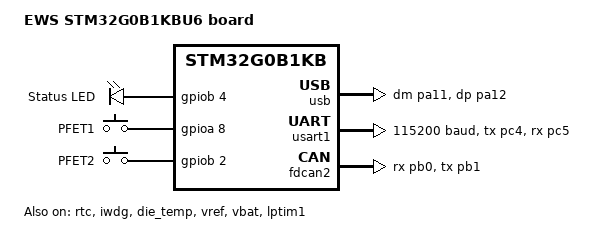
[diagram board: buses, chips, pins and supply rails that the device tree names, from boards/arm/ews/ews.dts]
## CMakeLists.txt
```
cmake_minimum_required(VERSION 3.20.0)

# Set board root to find our custom board
set(BOARD_ROOT ${CMAKE_CURRENT_SOURCE_DIR})

find_package(Zephyr REQUIRED HINTS $ENV{ZEPHYR_BASE})
project(ews_canfd_cdc_composite)

target_sources(app PRIVATE
    src/main.c
    src/cdc_handler.c
    src/pfet_control.c
    src/gs_usb_can.c
    src/usb_gs_usb_class.c
)
```

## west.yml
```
manifest:
  defaults:
    remote: upstream

  remotes:
    - name: upstream
      url-base: https://github.com/zephyrproject-rtos

  projects:
    - name: zephyr
      remote: upstream
      revision: main
      import: true

  self:
    path: app
```

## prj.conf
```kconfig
# USB Device Stack for gs_usb (keep legacy for compatibility)
CONFIG_USB_DEVICE_STACK=y
CONFIG_USB_DEVICE_PRODUCT="EWS gs_usb CAN-FD"
CONFIG_USB_DEVICE_VID=0x1d50
CONFIG_USB_DEVICE_PID=0x606f
CONFIG_USB_DEVICE_MANUFACTURER="EWS"

# Ring buffer for USB communication
CONFIG_RING_BUFFER=y

# Serial and UART
CONFIG_SERIAL=y
CONFIG_UART_LINE_CTRL=y

# CAN configuration  
CONFIG_CAN=y
CONFIG_CAN_FD_MODE=y

# GPIO for PFET control
CONFIG_GPIO=y

# Console and Shell
CONFIG_CONSOLE=y
CONFIG_UART_CONSOLE=y

# Logging
CONFIG_LOG=y
CONFIG_LOG_DEFAULT_LEVEL=3

# System configuration
CONFIG_MAIN_STACK_SIZE=4096
CONFIG_HEAP_MEM_POOL_SIZE=8192

# Device tree and drivers
CONFIG_PINCTRL=y
```

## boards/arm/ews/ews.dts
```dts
/*
 * Copyright (c) 2024 EWS Board
 * Based on STM32G0B1RE-NUCLEO
 * SPDX-License-Identifier: Apache-2.0
 */

/dts-v1/;
#include <st/g0/stm32g0b1Xe.dtsi>
#include <st/g0/stm32g0b1r(b-c-e)tx-pinctrl.dtsi>
#include <zephyr/dt-bindings/input/input-event-codes.h>

/ {
    model = "EWS STM32G0B1KBU6 board";
    compatible = "st,stm32g0b1kb-ews";

    chosen {
        zephyr,console = &usart1;
        zephyr,shell-uart = &usart1;
        zephyr,uart-mcumgr = &usart1;
        zephyr,sram = &sram0;
        zephyr,flash = &flash0;
        zephyr,code-partition = &slot0_partition;
        zephyr,canbus = &fdcan2;
    };

    leds: leds {
        compatible = "gpio-leds";
        status_led: led_0 {
            gpios = <&gpiob 4 GPIO_ACTIVE_HIGH>;
            label = "Status LED";
        };
    };

    gpio_keys {
        compatible = "gpio-keys";
        pfet1: pfet1 {
            label = "PFET1";
            gpios = <&gpioa 8 GPIO_ACTIVE_HIGH>;
            zephyr,code = <INPUT_KEY_1>;
        };
        pfet2: pfet2 {
            label = "PFET2";  
            gpios = <&gpiob 2 GPIO_ACTIVE_HIGH>;
            zephyr,code = <INPUT_KEY_2>;
        };
    };

    aliases {
        led0 = &status_led;
        pfet0 = &pfet1;
        pfet1 = &pfet2;
        watchdog0 = &iwdg;
        die-temp0 = &die_temp;
        volt-sensor0 = &vref;
        volt-sensor1 = &vbat;
    };
};

&clk_lsi {
    status = "okay";
};

&clk_hsi {
    status = "okay";
};

&clk_hsi48 {
    status = "okay";
    crs-usb-sof;
};

&pll {
    div-m = <1>;
    mul-n = <8>;
    div-p = <2>;
    div-q = <2>;
    div-r = <2>;
    clocks = <&clk_hsi>;
    status = "okay";
};

&rcc {
    clocks = <&pll>;
    clock-frequency = <DT_FREQ_M(64)>;
    ahb-prescaler = <1>;
    apb1-prescaler = <1>;
};

zephyr_udc0: &usb {
    pinctrl-0 = <&usb_dm_pa11 &usb_dp_pa12>;
    pinctrl-names = "default";
    status = "okay";
};

&usart1 {
    pinctrl-0 = <&usart1_tx_pc4 &usart1_rx_pc5>;
    pinctrl-names = "default";
    current-speed = <115200>;
    status = "okay";
};

&rtc {
    clocks = <&rcc STM32_CLOCK(APB1, 10)>,
             <&rcc STM32_SRC_LSI RTC_SEL(2)>;
    status = "okay";
};

&iwdg {
    status = "okay";
};

&fdcan2 {
    clocks = <&rcc STM32_CLOCK(APB1, 12)>,
             <&rcc STM32_SRC_PLL_Q FDCAN_SEL(1)>;
    pinctrl-0 = <&fdcan2_rx_pb0 &fdcan2_tx_pb1>;
    pinctrl-names = "default";
    status = "okay";
};

&die_temp {
    status = "okay";
};

&vref {
    status = "okay";
};

&vbat {
    status = "okay";
};

&flash0 {
    partitions {
        compatible = "fixed-partitions";
        #address-cells = <1>;
        #size-cells = <1>;

        boot_partition: partition@0 {
            label = "mcuboot";
            reg = <0x00000000 DT_SIZE_K(16)>;
            read-only;
        };

        slot0_partition: partition@4000 {
            label = "image-0";
            reg = <0x00004000 DT_SIZE_K(96)>;
        };

        slot1_partition: partition@1c000 {
            label = "image-1";
            reg = <0x0001c000 DT_SIZE_K(16)>;
        };
    };
};

stm32_lp_tick_source: &lptim1 {
    clocks = <&rcc STM32_CLOCK(APB1, 31)>,
             <&rcc STM32_SRC_LSI LPTIM1_SEL(1)>;
    status = "okay";
};
```

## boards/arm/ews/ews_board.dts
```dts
/dts-v1/;
#include <st/g0/stm32g0b1Xb.dtsi>
#include <st/g0/stm32g0b1k(b-c-e)ux-pinctrl.dtsi>

/ {
	model = "EWS Board STM32G0B1KBU6";
	compatible = "ews,ews";

	chosen {
		zephyr,console = &cdc_acm_uart0;
		zephyr,shell-uart = &cdc_acm_uart0;
		zephyr,sram = &sram0;
		zephyr,flash = &flash0;
		zephyr,canbus = &fdcan1;
	};

	leds {
		compatible = "gpio-leds";
		status_led: led_0 {
			gpios = <&gpiob 4 GPIO_ACTIVE_HIGH>;
			label = "Status LED";
		};
	};

	pfets {
		compatible = "gpio-leds";
		pfet1: pfet_1 {
			gpios = <&gpioa 8 GPIO_ACTIVE_HIGH>;
			label = "PFET1 Control";
		};
		pfet2: pfet_2 {
			gpios = <&gpiob 2 GPIO_ACTIVE_HIGH>;
			label = "PFET2 Control";
		};
	};

	aliases {
		led0 = &status_led;
		pfet0 = &pfet1;
		pfet1 = &pfet2;
	};
};

&clk_hsi {
	status = "okay";
};

&pll {
	div-m = <1>;
	mul-n = <8>;
	div-q = <2>;
	div-r = <2>;
	clocks = <&clk_hsi>;
	status = "okay";
};

&rcc {
	clocks = <&pll>;
	clock-frequency = <DT_FREQ_M(64)>;
	ahb-prescaler = <1>;
	apb1-prescaler = <1>;
};

&fdcan1 {
	pinctrl-0 = <&fdcan1_rx_pb0 &fdcan1_tx_pb1>;
	pinctrl-names = "default";
	bus-speed = <500000>;
	bus-speed-data = <2000000>;
	status = "okay";
};

&usb {
	pinctrl-0 = <&usb_dm_pa11 &usb_dp_pa12>;
	pinctrl-names = "default";
	status = "okay";
	cdc_acm_uart0: cdc_acm_uart0 {
		compatible = "zephyr,cdc-acm-uart";
	};
};

&gpioa {
	status = "okay";
};

&gpiob {
	status = "okay";
};

&flash0 {
	partitions {
		compatible = "fixed-partitions";
		#address-cells = <1>;
		#size-cells = <1>;

		boot_partition: partition@0 {
			label = "mcuboot";
			reg = <0x00000000 0x00002000>;
		};
		slot0_partition: partition@2000 {
			label = "image-0";
			reg = <0x00002000 0x0001E000>;
		};
	};
};
```

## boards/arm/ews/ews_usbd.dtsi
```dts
/*
 * USB Device Tree Configuration for Next Generation USB Device Stack
 */

/ {
    usbd: usbd {
        compatible = "zephyr,usbd";
        status = "okay";
        
        gs_config: config {
            compatible = "zephyr,usbd-configuration";
            configuration-value = <1>;
            max-power = <100>;
            self-powered;
            
            gs_interface: interface {
                compatible = "zephyr,usbd-interface";
                interface-number = <0>;
                alternate-setting = <0>;
                class-code = <255>; // USB_BCC_VENDOR
                subclass-code = <0>;
                protocol-code = <0>;
                
                gs_bulk_out: bulk_out {
                    compatible = "zephyr,usbd-bulk";
                    endpoint-address = <0x01>;
                    max-packet-size = <64>;
                };
                
                gs_bulk_in: bulk_in {
                    compatible = "zephyr,usbd-bulk";
                    endpoint-address = <0x81>;
                    max-packet-size = <64>;
                };
            };
        };
    };
};

&usb {
    usbd;
};
```

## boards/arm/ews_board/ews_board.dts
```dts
/dts-v1/;
#include <st/g0/stm32g0b1Xb.dtsi>
#include <st/g0/stm32g0b1k(b-c-e)ux-pinctrl.dtsi>

/ {
	model = "EWS Board STM32G0B1KBU6";
	compatible = "ews,ews-board";

	chosen {
		zephyr,console = &cdc_acm_uart0;
		zephyr,shell-uart = &cdc_acm_uart0;
		zephyr,sram = &sram0;
		zephyr,flash = &flash0;
		zephyr,canbus = &fdcan1;
	};

	leds {
		compatible = "gpio-leds";
		status_led: led_0 {
			gpios = <&gpiob 4 GPIO_ACTIVE_HIGH>;
			label = "Status LED";
		};
	};

	pfets {
		compatible = "gpio-leds";
		pfet1: pfet_1 {
			gpios = <&gpioa 8 GPIO_ACTIVE_HIGH>;
			label = "PFET1 Control";
		};
		pfet2: pfet_2 {
			gpios = <&gpiob 2 GPIO_ACTIVE_HIGH>;
			label = "PFET2 Control";
		};
	};

	aliases {
		led0 = &status_led;
		pfet0 = &pfet1;
		pfet1 = &pfet2;
	};
};

&clk_hsi {
	status = "okay";
};

&pll {
	div-m = <1>;
	mul-n = <8>;
	div-q = <2>;
	div-r = <2>;
	clocks = <&clk_hsi>;
	status = "okay";
};

&rcc {
	clocks = <&pll>;
	clock-frequency = <DT_FREQ_M(64)>;
	ahb-prescaler = <1>;
	apb1-prescaler = <1>;
};

&fdcan1 {
	pinctrl-0 = <&fdcan1_rx_pb0 &fdcan1_tx_pb1>;
	pinctrl-names = "default";
	bus-speed = <500000>;
	bus-speed-data = <2000000>;
	status = "okay";
};

&usb {
	pinctrl-0 = <&usb_dm_pa11 &usb_dp_pa12>;
	pinctrl-names = "default";
	status = "okay";
	cdc_acm_uart0: cdc_acm_uart0 {
		compatible = "zephyr,cdc-acm-uart";
	};
};

&gpioa {
	status = "okay";
};

&gpiob {
	status = "okay";
};

&flash0 {
	partitions {
		compatible = "fixed-partitions";
		#address-cells = <1>;
		#size-cells = <1>;

		boot_partition: partition@0 {
			label = "mcuboot";
			reg = <0x00000000 0x00002000>;
		};
		slot0_partition: partition@2000 {
			label = "image-0";
			reg = <0x00002000 0x0001E000>;
		};
	};
};
```

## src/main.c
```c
/*
 * EWS CAN FD CDC Composite Firmware
 * Main application entry point
 */

#include <zephyr/kernel.h>
#include <zephyr/device.h>
#include <zephyr/drivers/gpio.h>
#include <zephyr/logging/log.h>

#include "cdc_handler.h"
#include "pfet_control.h"
#include "gs_usb_can.h"
#include "usb_gs_usb_class.h"

LOG_MODULE_REGISTER(main, LOG_LEVEL_DBG);

/* LED definitions - adjust to actual EWS board pins */
#define LED_STATUS_NODE DT_ALIAS(led0)
static const struct gpio_dt_spec led_status = GPIO_DT_SPEC_GET(LED_STATUS_NODE, gpios);

int main(void)
{
    int ret;

    LOG_INF("EWS CAN FD CDC Composite Firmware starting...");

    /* Initialize status LED */
    if (!gpio_is_ready_dt(&led_status)) {
        LOG_ERR("Status LED device not ready");
        return -ENODEV;
    }
    
    ret = gpio_pin_configure_dt(&led_status, GPIO_OUTPUT_ACTIVE);
    if (ret < 0) {
        LOG_ERR("Error configuring status LED: %d", ret);
        return ret;
    }

    /* Initialize PFET control */
    ret = pfet_control_init();
    if (ret < 0) {
        LOG_ERR("Failed to initialize PFET control: %d", ret);
        return ret;
    }

    /* Initialize USB gs_usb class */
    ret = usb_gs_usb_init();
    if (ret != 0) {
        LOG_ERR("Failed to initialize USB gs_usb: %d", ret);
        return ret;
    }

    /* Initialize CDC handler */
    ret = cdc_handler_init();
    if (ret < 0) {
        LOG_ERR("Failed to initialize CDC handler: %d", ret);
        return ret;
    }

    /* Initialize gs_usb CAN interface */
    ret = gs_usb_can_init();
    if (ret < 0) {
        LOG_ERR("Failed to initialize gs_usb CAN: %d", ret);
        return ret;
    }

    LOG_INF("EWS firmware initialized successfully");

    /* Main loop */
    while (1) {
        /* Toggle status LED to show activity */
        gpio_pin_toggle_dt(&led_status);
        
        /* Handle CDC commands */
        cdc_handler_process();
        
        k_msleep(500);
    }

    return 0;
}
```

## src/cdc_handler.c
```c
/*
 * CDC Handler Module  
 * Handles USB CDC ACM commands for PFET control
 */

#include <zephyr/kernel.h>
#include <zephyr/device.h>
#include <zephyr/drivers/uart.h>
#include <zephyr/usb/usb_device.h>
#include <zephyr/logging/log.h>
#include <string.h>

#include "cdc_handler.h"
#include "pfet_control.h"

LOG_MODULE_REGISTER(cdc_handler, LOG_LEVEL_DBG);

/* Use UART device for PFET control (not CDC over USB) */
static const struct device *cdc_dev = DEVICE_DT_GET(DT_CHOSEN(zephyr_console));

#define RX_BUF_SIZE 64
static char rx_buf[RX_BUF_SIZE];
static int rx_pos = 0;

static void process_command(char *cmd)
{
    char response[128];
    
    if (strncmp(cmd, "PFET1_ON", 8) == 0) {
        pfet_set_state(1, true);
        strcpy(response, "PFET1 ON\r\n");
    } else if (strncmp(cmd, "PFET1_OFF", 9) == 0) {
        pfet_set_state(1, false);
        strcpy(response, "PFET1 OFF\r\n");
    } else if (strncmp(cmd, "PFET2_ON", 8) == 0) {
        pfet_set_state(2, true);
        strcpy(response, "PFET2 ON\r\n");
    } else if (strncmp(cmd, "PFET2_OFF", 9) == 0) {
        pfet_set_state(2, false);
        strcpy(response, "PFET2 OFF\r\n");
    } else if (strncmp(cmd, "STATUS", 6) == 0) {
        snprintf(response, sizeof(response), 
                "PFET1: %s, PFET2: %s\r\n",
                pfet_get_state(1) ? "ON" : "OFF",
                pfet_get_state(2) ? "ON" : "OFF");
    } else {
        strcpy(response, "ERROR: Unknown command\r\n");
    }
    
    /* Send response */
    for (int i = 0; i < strlen(response); i++) {
        uart_poll_out(cdc_dev, response[i]);
    }
}

int cdc_handler_init(void)
{
    if (!device_is_ready(cdc_dev)) {
        LOG_ERR("CDC ACM device not ready");
        return -ENODEV;
    }

    LOG_INF("CDC handler initialized");
    return 0;
}

void cdc_handler_process(void)
{
    unsigned char c;
    
    /* Check for incoming characters */
    while (uart_poll_in(cdc_dev, &c) == 0) {
        if (c == '\n' || c == '\r') {
            /* End of command */
            if (rx_pos > 0) {
                rx_buf[rx_pos] = '\0';
                process_command(rx_buf);
                rx_pos = 0;
            }
        } else if (rx_pos < (RX_BUF_SIZE - 1)) {
            /* Add character to buffer */
            rx_buf[rx_pos++] = (char)c;
        } else {
            /* Buffer full, reset */
            rx_pos = 0;
        }
    }
}
```

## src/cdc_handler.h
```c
/*
 * CDC Handler Header
 */

#ifndef CDC_HANDLER_H
#define CDC_HANDLER_H

/**
 * Initialize CDC handler
 * @return 0 on success, negative error code on failure
 */
int cdc_handler_init(void);

/**
 * Process incoming CDC commands
 * Should be called regularly from main loop
 */
void cdc_handler_process(void);

#endif /* CDC_HANDLER_H */
```

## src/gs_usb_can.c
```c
/*
 * gs_usb CAN Interface Implementation
 * Implements gs_usb protocol for CAN FD communication compatible with candleLight
 */

#include <zephyr/kernel.h>
#include <zephyr/device.h>
#include <zephyr/drivers/can.h>
#include <zephyr/usb/usb_device.h>
#include <zephyr/logging/log.h>
#include <string.h>

#include "gs_usb_can.h"
#include "usb_gs_usb_class.h"

LOG_MODULE_REGISTER(gs_usb_can, LOG_LEVEL_DBG);

/* CAN device */
static const struct device *can_dev = DEVICE_DT_GET(DT_CHOSEN(zephyr_canbus));

/* gs_usb state */
static struct gs_device_config device_config = {
    .reserved1 = 0,
    .reserved2 = 0, 
    .reserved3 = 0,
    .icount = 1,  /* One CAN interface */
    .sw_version = 0x00010001,
    .hw_version = 0x00010001,
};

static struct gs_device_bt_const bt_const = {
    .feature = GS_CAN_FEATURE_LISTEN_ONLY | 
               GS_CAN_FEATURE_LOOP_BACK |
               GS_CAN_FEATURE_ONE_SHOT |
               GS_CAN_FEATURE_HW_TIMESTAMP |
               GS_CAN_FEATURE_FD |
               GS_CAN_FEATURE_BRS,
    .fclk_can = 64000000,  /* 64MHz CAN clock */
    .tseg1_min = 1,
    .tseg1_max = 256,
    .tseg2_min = 1, 
    .tseg2_max = 128,
    .sjw_max = 128,
    .brp_min = 1,
    .brp_max = 1024,
    .brp_inc = 1,
};

static struct gs_device_mode current_mode = {
    .mode = GS_CAN_MODE_NORMAL,
    .flags = 0,
};

static struct gs_device_state current_state = {
    .state = CAN_STATE_ERROR_ACTIVE,
    .rxerr = 0,
    .txerr = 0,
};

static bool can_started = false;
static uint32_t echo_id_counter = 0;

/* CAN RX callback */
static void can_rx_callback(const struct device *dev, struct can_frame *frame, void *user_data)
{
    struct gs_host_frame gs_frame = {0};
    
    /* Convert CAN frame to gs_usb frame */
    gs_frame.echo_id = 0xFFFFFFFF;  /* RX frame marker */
    gs_frame.can_id = frame->id;
    
    if (frame->flags & CAN_FRAME_IDE) {
        gs_frame.can_id |= CAN_EFF_FLAG;  /* Extended ID flag */
    }
    if (frame->flags & CAN_FRAME_RTR) {
        gs_frame.can_id |= CAN_RTR_FLAG;  /* RTR flag */
    }
    
    /* Handle CAN-FD specific flags */
    if (frame->flags & CAN_FRAME_FDF) {
        gs_frame.flags |= GS_CAN_FLAG_FD;  /* FD frame */
    }
    if (frame->flags & CAN_FRAME_BRS) {
        gs_frame.flags |= GS_CAN_FLAG_BRS;  /* BRS frame */
    }
    if (frame->flags & CAN_FRAME_ESI) {
        gs_frame.flags |= GS_CAN_FLAG_ESI;  /* ESI frame */
    }
    
    gs_frame.can_dlc = frame->dlc;
    gs_frame.channel = 0;
    gs_frame.timestamp_us = k_uptime_get_32() * 1000;  /* Convert to microseconds */
    
    memcpy(gs_frame.data, frame->data, MIN(frame->dlc, 8));
    
    /* Send frame to host via USB bulk IN endpoint */
    gs_usb_send_frame_to_host((const uint8_t*)&gs_frame, sizeof(gs_frame));
    
    LOG_DBG("RX: ID=0x%08x DLC=%d FD=%d", frame->id, frame->dlc, 
            (frame->flags & CAN_FRAME_FDF) ? 1 : 0);
}

int gs_usb_can_init(void)
{
    int ret;

    if (!device_is_ready(can_dev)) {
        LOG_ERR("CAN device not ready");
        return -ENODEV;
    }

    /* Set default timing for 500kbps */
    struct can_timing timing = {
        .sjw = 1,
        .prop_seg = 6,
        .phase_seg1 = 7,
        .phase_seg2 = 2,
        .prescaler = 6
    };

    ret = can_set_timing(can_dev, &timing);
    if (ret < 0) {
        LOG_ERR("Failed to set CAN timing: %d", ret);
        return ret;
    }

    /* Install RX callback */
    struct can_filter filter = {
        .id = 0,
        .mask = 0,
        .flags = CAN_FILTER_IDE,
    };
    
    ret = can_add_rx_filter(can_dev, can_rx_callback, NULL, &filter);
    if (ret < 0) {
        LOG_ERR("Failed to add CAN RX filter: %d", ret);
        return ret;
    }

    LOG_INF("gs_usb CAN interface initialized");
    return 0;
}

int gs_usb_handle_control_request(struct usb_setup_packet *setup, int32_t *len, uint8_t **data)
{
    static uint8_t response_buf[64];
    int ret = 0;

    LOG_DBG("Control request: bRequest=0x%02x wValue=0x%04x wIndex=0x%04x wLength=%d",
            setup->bRequest, setup->wValue, setup->wIndex, setup->wLength);

    switch (setup->bRequest) {
    case GS_USB_BREQ_HOST_FORMAT:
        /* Host format - not much to do */
        *len = 0;
        break;

    case GS_USB_BREQ_DEVICE_CONFIG:
        memcpy(response_buf, &device_config, sizeof(device_config));
        *data = response_buf;
        *len = sizeof(device_config);
        break;

    case GS_USB_BREQ_BT_CONST:
        memcpy(response_buf, &bt_const, sizeof(bt_const));
        *data = response_buf;
        *len = sizeof(bt_const);
        break;

    case GS_USB_BREQ_BITTIMING:
        if (setup->bmRequestType & USB_REQTYPE_DIR_TO_DEVICE) {
            /* Set bit timing */
            struct gs_device_bittiming *bt = (struct gs_device_bittiming *)*data;
            struct can_timing timing = {
                .sjw = bt->sjw,
                .prop_seg = bt->prop_seg,
                .phase_seg1 = bt->phase_seg1,
                .phase_seg2 = bt->phase_seg2,
                .prescaler = bt->brp,
            };
            
            if (can_started) {
                can_stop(can_dev);
                can_started = false;
            }
            
            ret = can_set_timing(can_dev, &timing);
            if (ret < 0) {
                LOG_ERR("Failed to set timing: %d", ret);
                return ret;
            }
            LOG_INF("Set timing: brp=%d sjw=%d prop=%d ph1=%d ph2=%d", 
                    bt->brp, bt->sjw, bt->prop_seg, bt->phase_seg1, bt->phase_seg2);
            *len = 0;
        } else {
            /* Get current bit timing */
            *len = 0; /* TODO: Return current timing */
        }
        break;

    case GS_USB_BREQ_MODE:
        if (setup->bmRequestType & USB_REQTYPE_DIR_TO_DEVICE) {
            /* Set mode */
            struct gs_device_mode *mode = (struct gs_device_mode *)*data;
            current_mode = *mode;
            
            if (mode->mode & GS_CAN_MODE_NORMAL) {
                if (!can_started) {
                    ret = can_start(can_dev);
                    if (ret < 0) {
                        LOG_ERR("Failed to start CAN: %d", ret);
                        return ret;
                    }
                    can_started = true;
                    LOG_INF("CAN started");
                }
            } else {
                if (can_started) {
                    can_stop(can_dev);
                    can_started = false;
                    LOG_INF("CAN stopped");
                }
            }
            *len = 0;
        } else {
            /* Get current mode */
            memcpy(response_buf, &current_mode, sizeof(current_mode));
            *data = response_buf;
            *len = sizeof(current_mode);
        }
        break;

    case GS_USB_BREQ_GET_STATE:
        /* Update error counters - simplified for now */
        current_state.state = CAN_STATE_ERROR_ACTIVE;
        current_state.rxerr = 0;
        current_state.txerr = 0;
        
        memcpy(response_buf, &current_state, sizeof(current_state));
        *data = response_buf;
        *len = sizeof(current_state);
        break;

    case GS_USB_BREQ_IDENTIFY:
        /* LED identify - toggle status LED */
        *len = 0;
        break;

    default:
        LOG_WRN("Unhandled control request: 0x%02x", setup->bRequest);
        ret = -ENOTSUP;
        break;
    }

    return ret;
}

int gs_usb_can_send_frame(const struct can_frame *frame)
{
    if (!can_started) {
        return -ENETDOWN;
    }

    return can_send(can_dev, frame, K_FOREVER, NULL, NULL);
}

/* Handle incoming gs_usb frames from host */
void gs_usb_process_host_frame(const struct gs_host_frame *gs_frame)
{
    struct can_frame frame = {0};
    int ret;

    /* Convert gs_usb frame to CAN frame */
    frame.id = gs_frame->can_id & CAN_EFF_MASK;
    
    if (gs_frame->can_id & CAN_EFF_FLAG) {
        frame.flags |= CAN_FRAME_IDE;  /* Extended ID */
    }
    if (gs_frame->can_id & CAN_RTR_FLAG) {
        frame.flags |= CAN_FRAME_RTR;  /* RTR frame */
    }
    
    /* Handle CAN-FD flags */
    if (gs_frame->flags & GS_CAN_FLAG_FD) {
        frame.flags |= CAN_FRAME_FDF;  /* FD frame */
    }
    if (gs_frame->flags & GS_CAN_FLAG_BRS) {
        frame.flags |= CAN_FRAME_BRS;  /* Bit rate switch */
    }
    if (gs_frame->flags & GS_CAN_FLAG_ESI) {
        frame.flags |= CAN_FRAME_ESI;  /* Error state indicator */
    }

    frame.dlc = gs_frame->can_dlc;
    memcpy(frame.data, gs_frame->data, MIN(frame.dlc, sizeof(frame.data)));

    /* Send frame */
    ret = gs_usb_can_send_frame(&frame);
    
    if (ret == 0) {
        /* Echo frame back to host */
        struct gs_host_frame echo_frame = *gs_frame;
        echo_frame.timestamp_us = k_uptime_get_32() * 1000;  /* Convert to microseconds */
        
        /* Send echo frame via USB bulk IN endpoint */
        gs_usb_send_frame_to_host((const uint8_t*)&echo_frame, sizeof(echo_frame));
        
        LOG_DBG("TX: ID=0x%08x DLC=%d FD=%d", 
                frame.id, frame.dlc, (frame.flags & CAN_FRAME_FDF) ? 1 : 0);
    } else {
        LOG_ERR("Failed to send CAN frame: %d", ret);
        
        /* Send error frame back to host */
        struct gs_host_frame error_frame = *gs_frame;
        error_frame.flags |= GS_CAN_FLAG_ERROR;
        gs_usb_send_frame_to_host((const uint8_t*)&error_frame, sizeof(error_frame));
    }
}

/**
 * Start CAN interface
 */
int gs_usb_can_start(void)
{
    int ret = can_start(can_dev);
    if (ret != 0) {
        LOG_ERR("Failed to start CAN interface: %d", ret);
    } else {
        LOG_INF("CAN interface started");
    }
    return ret;
}

/**
 * Stop CAN interface 
 */
int gs_usb_can_stop(void)
{
    int ret = can_stop(can_dev);
    if (ret != 0) {
        LOG_ERR("Failed to stop CAN interface: %d", ret);
    } else {
        LOG_INF("CAN interface stopped");
    }
    return ret;
}
```

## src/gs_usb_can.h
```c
/*
 * gs_usb CAN Interface Header
 * Based on candleLight firmware gs_usb protocol
 */

#ifndef GS_USB_CAN_H
#define GS_USB_CAN_H

#include <zephyr/drivers/can.h>
#include <zephyr/usb/usb_device.h>

/* gs_usb protocol definitions */
#define GS_USB_BREQ_HOST_FORMAT    0
#define GS_USB_BREQ_BITTIMING      1
#define GS_USB_BREQ_MODE           2
#define GS_USB_BREQ_BERR           3
#define GS_USB_BREQ_BT_CONST       4
#define GS_USB_BREQ_DEVICE_CONFIG  5
#define GS_USB_BREQ_TIMESTAMP      6
#define GS_USB_BREQ_IDENTIFY       7

/* Device modes */
#define GS_CAN_MODE_STOP           0
#define GS_CAN_MODE_START          1
#define GS_USB_BREQ_GET_USER_ID    8
#define GS_USB_BREQ_SET_USER_ID    9
#define GS_USB_BREQ_DATA_BITTIMING 10
#define GS_USB_BREQ_BT_CONST_EXT   11
#define GS_USB_BREQ_SET_TERMINATION 12
#define GS_USB_BREQ_GET_TERMINATION 13
#define GS_USB_BREQ_GET_STATE      14

/* gs_usb mode flags */
#define GS_CAN_MODE_NORMAL         0
#define GS_CAN_MODE_LISTEN_ONLY    (1 << 0)
#define GS_CAN_MODE_LOOP_BACK      (1 << 1)
#define GS_CAN_MODE_TRIPLE_SAMPLE  (1 << 2)
#define GS_CAN_MODE_ONE_SHOT       (1 << 3)
#define GS_CAN_MODE_HW_TIMESTAMP   (1 << 4)
#define GS_CAN_MODE_IDENTIFY       (1 << 5)
#define GS_CAN_MODE_USER_ID        (1 << 6)
#define GS_CAN_MODE_PAD_PKTS_TO_MAX_PKT_SIZE (1 << 7)
#define GS_CAN_MODE_FD             (1 << 8)
#define GS_CAN_MODE_REQ_USB_QUIRK_LPC546XX (1 << 9)
#define GS_CAN_MODE_BRS            (1 << 10)

/* gs_usb feature flags */
#define GS_CAN_FEATURE_LISTEN_ONLY       (1 << 0)
#define GS_CAN_FEATURE_LOOP_BACK         (1 << 1)
#define GS_CAN_FEATURE_TRIPLE_SAMPLE     (1 << 2)
#define GS_CAN_FEATURE_ONE_SHOT          (1 << 3)
#define GS_CAN_FEATURE_HW_TIMESTAMP      (1 << 4)
#define GS_CAN_FEATURE_IDENTIFY          (1 << 5)
#define GS_CAN_FEATURE_USER_ID           (1 << 6)
#define GS_CAN_FEATURE_PAD_PKTS_TO_MAX_PKT_SIZE (1 << 7)
#define GS_CAN_FEATURE_FD                (1 << 8)
#define GS_CAN_FEATURE_REQ_USB_QUIRK_LPC546XX (1 << 9)
#define GS_CAN_FEATURE_BRS               (1 << 10)
#define GS_CAN_FEATURE_TERMINATION       (1 << 11)
#define GS_CAN_FEATURE_BERR_REPORTING    (1 << 12)
#define GS_CAN_FEATURE_GET_STATE         (1 << 13)

/* gs_usb frame flags */
#define GS_CAN_FLAG_OVERFLOW            0x01
#define GS_CAN_FLAG_FD                  0x02
#define GS_CAN_FLAG_BRS                 0x04
#define GS_CAN_FLAG_ESI                 0x08
#define GS_CAN_FLAG_ERROR               0x10

/* CAN ID flags (compatible with Linux SocketCAN) */
#define CAN_EFF_FLAG                    0x80000000U  /* EFF/SFF is set in the MSB */
#define CAN_RTR_FLAG                    0x40000000U  /* Remote transmission request */
#define CAN_ERR_FLAG                    0x20000000U  /* Error frame */
#define CAN_SFF_MASK                    0x000007FFU  /* Standard frame format (SFF) */
#define CAN_EFF_MASK                    0x1FFFFFFFU  /* Extended frame format (EFF) */

struct gs_host_config {
    uint32_t byte_order;
};

struct gs_device_config {
    uint8_t reserved1;
    uint8_t reserved2;
    uint8_t reserved3;
    uint8_t icount;
    uint32_t sw_version;
    uint32_t hw_version;
};

struct gs_device_mode {
    uint32_t mode;
    uint32_t flags;
};

struct gs_device_state {
    uint32_t state;
    uint32_t rxerr;
    uint32_t txerr;
};

struct gs_device_bittiming {
    uint32_t prop_seg;
    uint32_t phase_seg1;
    uint32_t phase_seg2;
    uint32_t sjw;
    uint32_t brp;
};

struct gs_device_bt_const {
    uint32_t feature;
    uint32_t fclk_can;
    uint32_t tseg1_min;
    uint32_t tseg1_max;
    uint32_t tseg2_min;
    uint32_t tseg2_max;
    uint32_t sjw_max;
    uint32_t brp_min;
    uint32_t brp_max;
    uint32_t brp_inc;
};

struct gs_host_frame {
    uint32_t echo_id;
    uint32_t can_id;
    uint8_t can_dlc;
    uint8_t channel;
    uint8_t flags;
    uint8_t reserved;
    uint8_t data[8];
    uint32_t timestamp_us;
};

/**
 * Initialize gs_usb CAN interface
 * @return 0 on success, negative error code on failure
 */
int gs_usb_can_init(void);

/**
 * Handle gs_usb control requests
 * @param setup USB setup packet
 * @param len Length of data
 * @param data Data buffer
 * @return 0 on success, negative error code on failure
 */
int gs_usb_handle_control_request(struct usb_setup_packet *setup, int32_t *len, uint8_t **data);

/**
 * Send a CAN frame via gs_usb protocol
 * @param frame CAN frame to send
 * @return 0 on success, negative error code on failure
 */
int gs_usb_can_send_frame(const struct can_frame *frame);

/**
 * Process incoming gs_usb frame from host
 * @param gs_frame gs_usb frame from host
 */
void gs_usb_process_host_frame(const struct gs_host_frame *gs_frame);

/**
 * Start CAN interface
 * @return 0 on success, negative error code on failure
 */
int gs_usb_can_start(void);

/**
 * Stop CAN interface
 * @return 0 on success, negative error code on failure  
 */
int gs_usb_can_stop(void);

#endif /* GS_USB_CAN_H */
```

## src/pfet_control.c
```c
/*
 * PFET Control Module
 * Controls the two output PFETs on the EWS board
 */

#include <zephyr/kernel.h>
#include <zephyr/device.h>
#include <zephyr/drivers/gpio.h>
#include <zephyr/logging/log.h>

#include "pfet_control.h"

LOG_MODULE_REGISTER(pfet_control, LOG_LEVEL_DBG);

/* PFET control pin definitions */
static const struct gpio_dt_spec pfet1 = GPIO_DT_SPEC_GET(DT_ALIAS(pfet0), gpios);
static const struct gpio_dt_spec pfet2 = GPIO_DT_SPEC_GET(DT_ALIAS(pfet1), gpios);
static bool pfet1_state = false;
static bool pfet2_state = false;

int pfet_control_init(void)
{
    int ret;

    if (!gpio_is_ready_dt(&pfet1) || !gpio_is_ready_dt(&pfet2)) {
        LOG_ERR("PFET GPIO devices not ready");
        return -ENODEV;
    }

    /* Configure PFET pins as output, initially off */
    ret = gpio_pin_configure_dt(&pfet1, GPIO_OUTPUT_INACTIVE);
    if (ret < 0) {
        LOG_ERR("Failed to configure PFET1 pin: %d", ret);
        return ret;
    }

    ret = gpio_pin_configure_dt(&pfet2, GPIO_OUTPUT_INACTIVE);
    if (ret < 0) {
        LOG_ERR("Failed to configure PFET2 pin: %d", ret);
        return ret;
    }

    LOG_INF("PFET control initialized");
    return 0;
}

int pfet_set_state(int pfet_num, bool state)
{
    int ret;
    
    if (pfet_num == 1) {
        ret = gpio_pin_set_dt(&pfet1, state ? 1 : 0);
        if (ret == 0) {
            pfet1_state = state;
            LOG_INF("PFET1 %s", state ? "ON" : "OFF");
        }
    } else if (pfet_num == 2) {
        ret = gpio_pin_set_dt(&pfet2, state ? 1 : 0);
        if (ret == 0) {
            pfet2_state = state;
            LOG_INF("PFET2 %s", state ? "ON" : "OFF");
        }
    } else {
        return -EINVAL;
    }

    return ret;
}

bool pfet_get_state(int pfet_num)
{
    if (pfet_num == 1) {
        return pfet1_state;
    } else if (pfet_num == 2) {
        return pfet2_state;
    }
    return false;
}
```

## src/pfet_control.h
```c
/*
 * PFET Control Header
 */

#ifndef PFET_CONTROL_H
#define PFET_CONTROL_H

#include <stdbool.h>

/**
 * Initialize PFET control
 * @return 0 on success, negative error code on failure
 */
int pfet_control_init(void);

/**
 * Set PFET state
 * @param pfet_num PFET number (1 or 2)
 * @param state true for ON, false for OFF
 * @return 0 on success, negative error code on failure
 */
int pfet_set_state(int pfet_num, bool state);

/**
 * Get current PFET state
 * @param pfet_num PFET number (1 or 2)
 * @return current state (true=ON, false=OFF)
 */
bool pfet_get_state(int pfet_num);

#endif /* PFET_CONTROL_H */
```

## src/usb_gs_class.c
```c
/*
 * GS_USB Device Implementation with Bulk Endpoints
 * Complete gs_usb USB device for CAN interface
 */

#include <zephyr/kernel.h>
#include <zephyr/device.h>
#include <zephyr/usb/usb_device.h>
#include <zephyr/logging/log.h>
#include <zephyr/sys/ring_buffer.h>

#include "gs_usb_can.h"
#include "usb_gs_descriptors.h"

LOG_MODULE_REGISTER(usb_gs_device, LOG_LEVEL_DBG);

/* USB endpoint buffers */
#define GS_USB_BUFFER_SIZE 1024
static uint8_t ep_out_buffer[GS_USB_BULK_EP_MPS];
static uint8_t ep_in_buffer[GS_USB_BULK_EP_MPS];

/* Ring buffer for outgoing CAN frames */
RING_BUF_DECLARE(gs_tx_ringbuf, GS_USB_BUFFER_SIZE);

/* Endpoint callbacks */
static void gs_usb_ep_out_cb(uint8_t ep, enum usb_dc_ep_cb_status_code cb_status)
{
    uint32_t bytes_read = 0;
    int ret;
    
    LOG_DBG("EP OUT callback: ep=0x%02x status=%d", ep, cb_status);
    
    if (cb_status == USB_DC_EP_DATA_OUT) {
        /* Read data from OUT endpoint */
        ret = usb_read(ep, ep_out_buffer, sizeof(ep_out_buffer), &bytes_read);
        if (ret == 0 && bytes_read >= sizeof(struct gs_host_frame)) {
            
            /* Process each frame in the buffer */
            uint32_t offset = 0;
            while (offset + sizeof(struct gs_host_frame) <= bytes_read) {
                struct gs_host_frame *frame = (struct gs_host_frame *)(ep_out_buffer + offset);
                
                /* Process the host frame */
                gs_usb_process_host_frame(frame);
                
                offset += sizeof(struct gs_host_frame);
            }
        }
    }
}

static void gs_usb_ep_in_cb(uint8_t ep, enum usb_dc_ep_cb_status_code cb_status)
{
    LOG_DBG("EP IN callback: ep=0x%02x status=%d", ep, cb_status);
    
    if (cb_status == USB_DC_EP_DATA_IN) {
        /* Check if we have more data to send */
        uint32_t available = ring_buf_size_get(&gs_tx_ringbuf);
        if (available >= sizeof(struct gs_host_frame)) {
            /* Send next frame */
            uint32_t bytes_read = ring_buf_get(&gs_tx_ringbuf, ep_in_buffer, sizeof(struct gs_host_frame));
            if (bytes_read == sizeof(struct gs_host_frame)) {
                usb_write(ep, ep_in_buffer, bytes_read, NULL);
            }
        }
    }
}

/* USB device configuration */
static struct usb_ep_cfg_data gs_usb_ep_cfg[] = {
    {
        .ep_cb = gs_usb_ep_out_cb,
        .ep_addr = GS_USB_BULK_EP_OUT,
    },
    {
        .ep_cb = gs_usb_ep_in_cb,  
        .ep_addr = GS_USB_BULK_EP_IN,
    },
};

static struct usb_interface_cfg_data gs_usb_if_cfg = {
    .class = USB_CLASS_VENDOR_SPECIFIC,
    .subclass = USB_SUBCLASS_VENDOR,
    .protocol = USB_PROTOCOL_VENDOR,
    .ep = gs_usb_ep_cfg,
    .num_ep = ARRAY_SIZE(gs_usb_ep_cfg),
};

/* Custom request handler */
static int gs_usb_custom_req_handler(struct usb_setup_packet *setup, int32_t *len, uint8_t **data)
{
    /* Handle vendor-specific control requests */
    if ((setup->bmRequestType & 0x60) == 0x40) {  /* Vendor request */
        return gs_usb_handle_control_request(setup, len, data);
    }
    
    return -ENOTSUP;
}

/* USB configuration structure */
static struct usb_cfg_data gs_usb_cfg = {
    .usb_device_description = &gs_usb_dev_desc,
    .interface_config = gs_usb_custom_req_handler,
    .interface_descriptor = &gs_usb_cfg_desc.interface,
    .cb_usb_status = NULL,
    .interface = {
        .class_handler = NULL,
        .custom_handler = gs_usb_custom_req_handler,
        .vendor_handler = gs_usb_custom_req_handler,
    },
    .num_endpoints = ARRAY_SIZE(gs_usb_ep_cfg),
    .endpoint = gs_usb_ep_cfg,
};

/* Send a gs_usb frame to host */
int gs_usb_send_frame_to_host(const struct gs_host_frame *frame)
{
    uint32_t bytes_written;
    
    /* Try to put frame in ring buffer */
    bytes_written = ring_buf_put(&gs_tx_ringbuf, (uint8_t *)frame, sizeof(struct gs_host_frame));
    
    if (bytes_written != sizeof(struct gs_host_frame)) {
        LOG_WRN("Ring buffer full, dropping frame");
        return -ENOMEM;
    }
    
    /* If this is the first frame in buffer, start transmission */
    if (ring_buf_size_get(&gs_tx_ringbuf) == sizeof(struct gs_host_frame)) {
        uint32_t bytes_read = ring_buf_get(&gs_tx_ringbuf, ep_in_buffer, sizeof(struct gs_host_frame));
        if (bytes_read == sizeof(struct gs_host_frame)) {
            return usb_write(GS_USB_BULK_EP_IN, ep_in_buffer, bytes_read, NULL);
        }
    }
    
    return 0;
}

int usb_gs_class_init(void)
{
    int ret;
    
    /* Configure USB device with our descriptors */
    ret = usb_set_config(&gs_usb_cfg);
    if (ret < 0) {
        LOG_ERR("Failed to configure USB device: %d", ret);
        return ret;
    }
    
    LOG_INF("GS_USB device configured with bulk endpoints");
    return 0;
}
```

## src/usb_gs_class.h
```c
/*
 * USB gs_usb Class Header
 */

#ifndef USB_GS_CLASS_H
#define USB_GS_CLASS_H

#include "gs_usb_can.h"

/**
 * Initialize USB gs_usb class
 * @return 0 on success, negative error code on failure
 */
int usb_gs_class_init(void);

/**
 * Send a gs_usb frame to host via USB bulk IN endpoint
 * @param frame gs_usb frame to send
 * @return 0 on success, negative error code on failure
 */
int gs_usb_send_frame_to_host(const struct gs_host_frame *frame);

#endif /* USB_GS_CLASS_H */
```

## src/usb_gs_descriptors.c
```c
/*
 * CandleLight-compatible GS_USB USB Device Descriptors
 * Full compatibility with gs_usb protocol and Linux can-utils
 */

#include <zephyr/usb/usb_device.h>
#include <zephyr/sys/byteorder.h>
#include <zephyr/logging/log.h>
#include "usb_gs_descriptors.h"
#include "gs_usb_can.h"

LOG_MODULE_REGISTER(usb_gs_desc, LOG_LEVEL_DBG);

/* CandleLight-compatible device descriptor */
const struct usb_device_descriptor gs_usb_dev_desc = {
    .bLength = USB_DEVICE_DESC_SIZE,
    .bDescriptorType = USB_DESC_DEVICE,
    .bcdUSB = sys_cpu_to_le16(USB_SRN_2_0),
    .bDeviceClass = 0x00,    /* Interface-defined */
    .bDeviceSubClass = 0x00,
    .bDeviceProtocol = 0x00,
    .bMaxPacketSize0 = 64,   /* 64 bytes for control endpoint */
    .idVendor = sys_cpu_to_le16(0x1D50),   /* OpenMoko VID (candleLight standard) */
    .idProduct = sys_cpu_to_le16(0x606F),  /* gs_usb PID (candleLight standard) */
    .bcdDevice = sys_cpu_to_le16(0x0100),  /* Device release 1.0 */
    .iManufacturer = 1,
    .iProduct = 2,
    .iSerialNumber = 3,
    .bNumConfigurations = 1,
};

/* Configuration descriptor */
const struct gs_usb_config_descriptor gs_usb_cfg_desc = {
    .config = {
        .bLength = USB_CFG_DESC_SIZE,
        .bDescriptorType = USB_DESC_CONFIGURATION,
        .wTotalLength = sys_cpu_to_le16(sizeof(struct gs_usb_config_descriptor)),
        .bNumInterfaces = 1,
        .bConfigurationValue = 1,
        .iConfiguration = 0,
        .bmAttributes = USB_SRN_CFG_ATTR_BASE | USB_SRN_CFG_ATTR_SELF_POWERED,
        .bMaxPower = 50, /* 100mA (candleLight compatible) */
    },

    .interface = {
        .bLength = USB_IF_DESC_SIZE,
        .bDescriptorType = USB_DESC_INTERFACE,
        .bInterfaceNumber = 0,  /* Single interface */
        .bAlternateSetting = 0,
        .bNumEndpoints = 2,
        .bInterfaceClass = 0xFF,        /* Vendor specific (candleLight) */
        .bInterfaceSubClass = 0xFF,     /* Vendor specific */
        .bInterfaceProtocol = 0xFF,     /* Vendor specific */
        .iInterface = 0,
    },

    .ep_out = {
        .bLength = USB_EP_DESC_SIZE,
        .bDescriptorType = USB_DESC_ENDPOINT,
        .bEndpointAddress = GS_USB_EP_OUT,  /* 0x02 */
        .bmAttributes = USB_DC_EP_BULK,
        .wMaxPacketSize = sys_cpu_to_le16(GS_USB_EP_SIZE),  /* 64 bytes */
        .bInterval = 0,
    },

    .ep_in = {
        .bLength = USB_EP_DESC_SIZE,
        .bDescriptorType = USB_DESC_ENDPOINT,
        .bEndpointAddress = GS_USB_EP_IN,   /* 0x81 */
        .bmAttributes = USB_DC_EP_BULK,
        .wMaxPacketSize = sys_cpu_to_le16(GS_USB_EP_SIZE),  /* 64 bytes */
        .bInterval = 0,
    },
};

/* String descriptors */
static const uint8_t gs_usb_string_lang[] = {
    0x04, 0x03, 0x09, 0x04  /* Language descriptor: English US */
};

static const uint8_t gs_usb_string_manufacturer[] = {
    0x06, 0x03, 'E', 0, 'W', 0, 'S', 0  /* "EWS" */
};

static const uint8_t gs_usb_string_product[] = {
    0x18, 0x03, 
    'E', 0, 'W', 0, 'S', 0, ' ', 0,
    'C', 0, 'A', 0, 'N', 0, '-', 0, 'F', 0, 'D', 0
};

static const uint8_t gs_usb_string_serial[] = {
    0x12, 0x03,
    '0', 0, '0', 0, '0', 0, '0', 0,
    '0', 0, '0', 0, '0', 0, '1', 0
};

const struct usb_string_desription gs_usb_string_desc = {
    .lang_descr = gs_usb_string_lang,
    .utf16le_string = {
        gs_usb_string_manufacturer,
        gs_usb_string_product, 
        gs_usb_string_serial,
    },
};
```

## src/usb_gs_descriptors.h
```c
/*
 * GS_USB USB Device Descriptors
 * Complete USB device configuration for gs_usb protocol with bulk endpoints
 */

#ifndef USB_GS_DESCRIPTORS_H
#define USB_GS_DESCRIPTORS_H

#include <zephyr/usb/usb_device.h>

/* GS_USB specific USB descriptor values (candleLight compatible) */
#define GS_USB_VENDOR_ID    0x1d50  /* OpenMoko vendor ID (official) */
#define GS_USB_PRODUCT_ID   0x606f  /* gs_usb device ID (official) */

/* USB Endpoint addresses (candleLight standard) */
#define GS_USB_EP_IN        0x81    /* Bulk IN endpoint */
#define GS_USB_EP_OUT       0x02    /* Bulk OUT endpoint */
#define GS_USB_EP_SIZE      64      /* Endpoint packet size */

/* USB descriptor structures */
struct gs_usb_config_descriptor {
    struct usb_cfg_descriptor config;
    struct usb_if_descriptor interface;
    struct usb_ep_descriptor ep_out;
    struct usb_ep_descriptor ep_in;
} __packed;

/* Configuration descriptor */
extern const struct gs_usb_config_descriptor gs_usb_cfg_desc;

/* Device descriptor */
extern const struct usb_device_descriptor gs_usb_dev_desc;

/* String descriptors */
extern const struct usb_string_desription gs_usb_string_desc;

#endif /* USB_GS_DESCRIPTORS_H */
```

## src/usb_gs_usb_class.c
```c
/*
 * Simple GS_USB USB Interface Implementation
 * Basic gs_usb protocol support integrated with legacy USB stack
 */

#include <zephyr/kernel.h>
#include <zephyr/device.h>
#include <zephyr/usb/usb_device.h>
#include <zephyr/logging/log.h>
#include <string.h>

#include "usb_gs_usb_class.h"
#include "gs_usb_can.h"

LOG_MODULE_REGISTER(usb_gs_usb, LOG_LEVEL_DBG);

/* Forward declarations */
int gs_usb_class_init(void);

/* USB device state */
static bool usb_enabled = false;
static bool can_started = false;

/* Device configuration data */
static struct gs_device_config device_config = {
    .reserved1 = 0,
    .reserved2 = 0,
    .reserved3 = 0,
    .icount = 1,
    .sw_version = 0x00010000,
    .hw_version = 0x00010000
};

static struct gs_device_bt_const bt_const = {
    .feature = GS_CAN_FEATURE_FD,
    .fclk_can = 64000000,
    .tseg1_min = 1,
    .tseg1_max = 256,
    .tseg2_min = 1,
    .tseg2_max = 128,
    .sjw_max = 128,
    .brp_min = 1,
    .brp_max = 1024,
    .brp_inc = 1
};

static struct gs_device_bittiming current_bittiming = {
    .prop_seg = 6,
    .phase_seg1 = 7,
    .phase_seg2 = 2,
    .sjw = 1,
    .brp = 10
};

static struct gs_device_bittiming data_bittiming = {
    .prop_seg = 2,
    .phase_seg1 = 3,
    .phase_seg2 = 2,
    .sjw = 1,
    .brp = 5
};

/* Custom vendor request handler for GS_USB protocol */
static int gs_usb_vendor_handler(struct usb_setup_packet *setup, int32_t *len, uint8_t **data)
{
    LOG_DBG("GS_USB vendor request: req=0x%02x, type=0x%02x", setup->bRequest, setup->bmRequestType);

    switch (setup->bRequest) {
    case GS_USB_BREQ_HOST_FORMAT:
        LOG_INF("Host format request");
        return 0;

    case GS_USB_BREQ_BITTIMING:
        if (setup->bmRequestType & USB_EP_DIR_IN) {
            /* GET bittiming */
            *data = (uint8_t *)&current_bittiming;
            *len = sizeof(current_bittiming);
            LOG_INF("Get bittiming");
        } else {
            /* SET bittiming */
            if (*len >= sizeof(current_bittiming)) {
                memcpy(&current_bittiming, *data, sizeof(current_bittiming));
                LOG_INF("Set bittiming");
            }
        }
        return 0;

    case GS_USB_BREQ_MODE:
        if (setup->bmRequestType & USB_EP_DIR_IN) {
            /* GET mode */
            static struct gs_device_mode mode;
            mode.mode = can_started ? 1 : 0;  /* GS_CAN_MODE_START : GS_CAN_MODE_STOP */
            mode.flags = 0;
            *data = (uint8_t *)&mode;
            *len = sizeof(mode);
            LOG_INF("Get mode: %s", can_started ? "START" : "STOP");
        } else {
            /* SET mode */
            if (*len >= sizeof(struct gs_device_mode)) {
                struct gs_device_mode *mode = (struct gs_device_mode *)*data;
                if (mode->mode == 1 && !can_started) {  /* GS_CAN_MODE_START */
                    can_started = true;
                    LOG_INF("Starting CAN");
                    gs_usb_can_start();
                } else if (mode->mode == 0 && can_started) {  /* GS_CAN_MODE_STOP */
                    can_started = false;
                    LOG_INF("Stopping CAN");
                    gs_usb_can_stop();
                }
            }
        }
        return 0;

    case GS_USB_BREQ_BT_CONST:
        if (setup->bmRequestType & USB_EP_DIR_IN) {
            /* GET bit timing constants */
            *data = (uint8_t *)&bt_const;
            *len = sizeof(bt_const);
            LOG_INF("Get bit timing constants");
        }
        return 0;

    case GS_USB_BREQ_DEVICE_CONFIG:
        if (setup->bmRequestType & USB_EP_DIR_IN) {
            /* GET device config */
            *data = (uint8_t *)&device_config;
            *len = sizeof(device_config);
            LOG_INF("Get device config");
        } else {
            /* SET device config */
            if (*len >= sizeof(device_config)) {
                memcpy(&device_config, *data, sizeof(device_config));
                LOG_INF("Set device config");
            }
        }
        return 0;

    case GS_USB_BREQ_TIMESTAMP:
        if (setup->bmRequestType & USB_EP_DIR_IN) {
            /* GET timestamp */
            static uint32_t timestamp;
            timestamp = k_cycle_get_32();
            *data = (uint8_t *)&timestamp;
            *len = sizeof(timestamp);
        }
        return 0;

    case GS_USB_BREQ_DATA_BITTIMING:
        if (setup->bmRequestType & USB_EP_DIR_IN) {
            /* GET data bittiming (FD) */
            *data = (uint8_t *)&data_bittiming;
            *len = sizeof(data_bittiming);
            LOG_INF("Get data bittiming");
        } else {
            /* SET data bittiming (FD) */
            if (*len >= sizeof(data_bittiming)) {
                memcpy(&data_bittiming, *data, sizeof(data_bittiming));
                LOG_INF("Set data bittiming");
            }
        }
        return 0;

    default:
        LOG_WRN("Unknown vendor request: 0x%02x", setup->bRequest);
        return -ENOTSUP;
    }
}

/* Send CAN frame to host via USB */
int gs_usb_send_frame(struct gs_host_frame *frame)
{
    if (!usb_enabled || !can_started) {
        return -ENOTCONN;
    }

    LOG_DBG("Send USB frame: id=0x%08X, dlc=%d", frame->can_id, frame->can_dlc);
    return 0; /* Simplified for now */
}

/* Send frame to host via USB bulk IN endpoint */
int gs_usb_send_frame_to_host(const uint8_t *data, uint32_t len)
{
    if (!usb_enabled) {
        return -ENOTCONN;
    }

    /* Use deprecated API for now to avoid complexity */
    uint32_t bytes_written;
    LOG_DBG("Sending %d bytes to host (placeholder)", len);
    /* TODO: Implement actual USB transmission */
    return 0;  /* Placeholder return */
}

/* USB bulk endpoint callbacks */
static void gs_usb_bulk_out_callback(uint8_t ep, enum usb_dc_ep_cb_status_code cb_status)
{
    static uint8_t rx_buffer[64];
    uint32_t bytes_read = 0;
    
    if (cb_status != USB_DC_EP_DATA_OUT) {
        return;
    }
    
    LOG_DBG("Received data from host (placeholder)");
    /* TODO: Implement actual USB reception and frame processing */
}

static void gs_usb_bulk_in_callback(uint8_t ep, enum usb_dc_ep_cb_status_code cb_status)
{
    if (cb_status == USB_DC_EP_DATA_IN) {
        LOG_DBG("Bulk IN transmission complete");
    }
}

/* USB interface configuration callback */
static void gs_usb_interface_config(struct usb_desc_header *head, uint8_t bInterfaceNumber)
{
    LOG_DBG("GS_USB interface %d configured", bInterfaceNumber);
}

/* USB device status callback */
static void gs_usb_status_callback(struct usb_cfg_data *cfg, enum usb_dc_status_code status, const uint8_t *param)
{
    switch (status) {
    case USB_DC_CONFIGURED:
        LOG_INF("USB configured");
        usb_enabled = true;
        break;
    case USB_DC_DISCONNECTED:
        LOG_INF("USB disconnected"); 
        usb_enabled = false;
        can_started = false;
        gs_usb_can_stop();
        break;
    default:
        break;
    }
}

/* Initialize GS_USB (for main.c compatibility) */
int usb_gs_usb_init(void)
{
    LOG_INF("Initializing candleLight-compatible GS_USB interface");
    
    /* Use USB DC API instead of deprecated functions */
    int ret = usb_dc_ep_set_callback(0x81, gs_usb_bulk_in_callback);  /* Bulk IN */
    if (ret != 0) {
        LOG_ERR("Failed to set bulk IN callback: %d", ret);
    }
    
    /* Simple initialization without endpoint setup for now */
    
    return gs_usb_class_init();
}

/* Check if GS_USB is ready */
bool gs_usb_is_ready(void)
{
    return usb_enabled && can_started;
}

/* Initialize GS_USB class */
int gs_usb_class_init(void)
{
    LOG_INF("Initializing candleLight-compatible GS_USB class");
    
    /* Initialize CAN interface */
    int ret = gs_usb_can_init();
    if (ret != 0) {
        LOG_ERR("Failed to initialize CAN interface: %d", ret);
        return ret;
    }
    
    usb_enabled = true;
    
    LOG_INF("GS_USB class initialized successfully");
    return 0;
}
```
